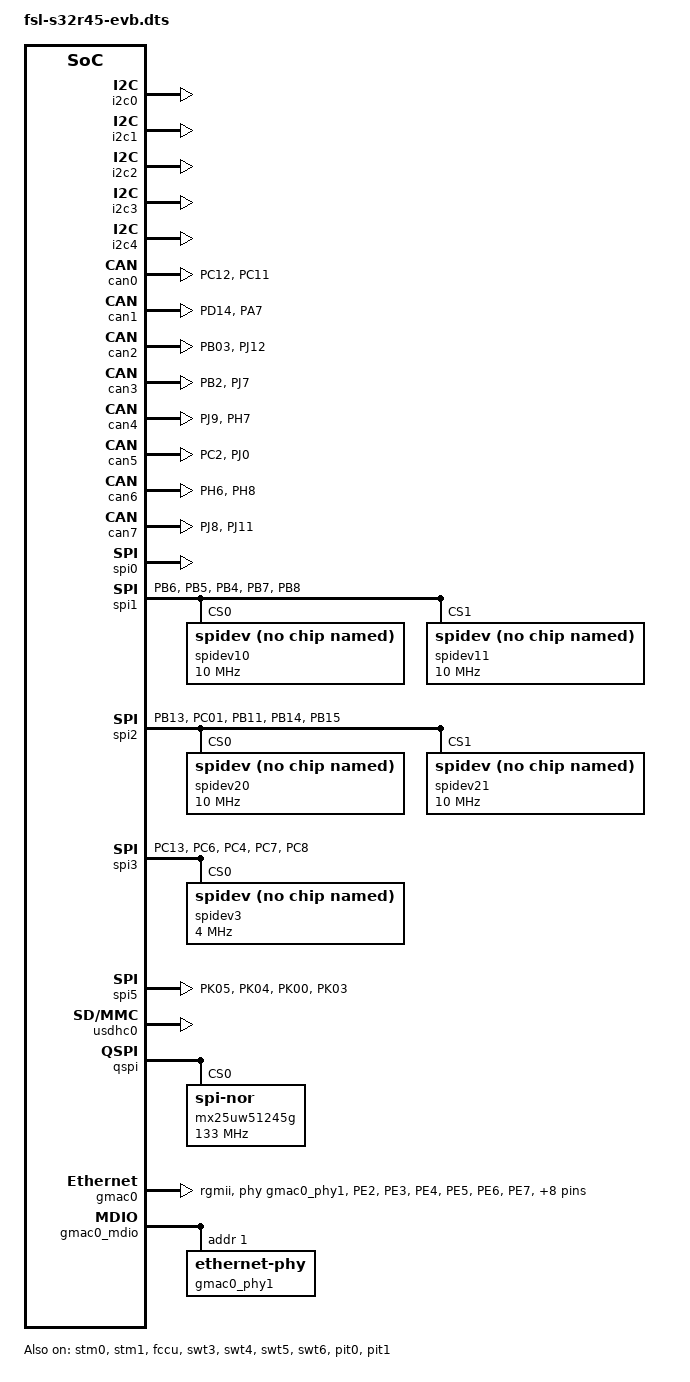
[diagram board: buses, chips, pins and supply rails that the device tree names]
/*
 * Copyright 2019-2020 NXP
 *
 * This program is free software; you can redistribute it and/or modify
 * it under the terms of the GNU General Public License as published by
 * the Free Software Foundation; either version 2 of the License, or
 * (at your option) any later version.
 */

/dts-v1/;
#include "fsl-s32r45.dtsi"
#include <dt-bindings/pinctrl/s32r45-pinctrl.h>

/ {
	aliases {
		gmac0 = &gmac0;
		gmac1 = &gmac1;
	};

	chosen {
		linux,initrd-start = <0x84000000>;
		linux,initrd-end = <0x8A000000>;
		stdout-path = "serial0:115200n8";
	};

	memory_DDR0@80000000 {
		device_type = "memory";
		reg = <0 0x80000000 0 0x40000000>;
	};

	memory_DDR1@c0000000 {
		device_type = "memory";
		reg = <0 0xc0000000 0 0x40000000>;
	};

	memory_DDR2@880000000 {
		device_type = "memory";
		reg = <0x8 0x80000000 0 0x80000000>;
	};
};

&fxosc {
	clock-frequency = <40000000>;
};

&generic_timer {
	clock-frequency = <5000000>;
};

&i2c0 {
	status = "okay";
};

&i2c1 {
	status = "okay";
};

&i2c2 {
	status = "okay";
};

&i2c3 {
	status = "okay";
};

&i2c4 {
	status = "okay";
};

&can0 {
	pinctrl-names = "default";
	pinctrl-0 = <&pinctrl0_can0>;
	status = "okay";
};

&can1 {
	pinctrl-names = "default";
	pinctrl-0 = <&pinctrl0_can1>, <&pinctrl1_can1>;
	status = "okay";
};

&can2 {
	pinctrl-names = "default";
	pinctrl-0 = <&pinctrl0_can2>, <&pinctrl1_can2>;
	status = "okay";
};

&can3 {
	pinctrl-names = "default";
	pinctrl-0 = <&pinctrl0_can3>, <&pinctrl1_can3>;
	status = "okay";
};

&can4 {
	pinctrl-names = "default";
	pinctrl-0 = <&pinctrl1_can4>;
};

&can5 {
	pinctrl-names = "default";
	pinctrl-0 =  <&pinctrl0_can5>, <&pinctrl1_can5>;
	status = "okay";
};

&can6 {
	pinctrl-names = "default";
	pinctrl-0 =  <&pinctrl1_can6>;
};

&can7 {
	pinctrl-names = "default";
	pinctrl-0 =  <&pinctrl1_can7>;
	status = "okay";
};

&stm0 {
	status = "okay";
};

&stm1 {
	status = "okay";
};

&fccu {
	status = "okay";
};

&swt3 {
	status = "okay";
};

&swt4 {
	status = "okay";
};

&swt5 {
	status = "okay";
};

&swt6 {
	status = "okay";
};

&pit0 {
	status = "okay";
};

&pit1 {
	status = "okay";
};

&pinctrl0 {
	status = "okay";
	s32r45-evb {
		pinctrl0_can0: can0grp {
			fsl,pins = <
				S32_GEN1_PAD_PC12__CAN0_TXD
				S32_GEN1_PAD_PC11__CAN0_RXD_OUT
				S32_GEN1_PAD_PC11__CAN0_RXD_IN
			>;
		};

		pinctrl0_can1: can1grp {
			fsl,pins = <
				S32_GEN1_PAD_PD14__CAN1_TXD
				S32_GEN1_PAD_PA7__CAN1_RXD_OUT
			>;
		};

		pinctrl0_can2: can2grp {
			fsl,pins = <
				S32_GEN1_PAD_PB03__CAN2_TXD
			>;
		};

		pinctrl0_can3: can3grp {
			fsl,pins = <
				S32_GEN1_PAD_PB2__CAN3_TXD
			>;
		};

		pinctrl0_can5: can5rp {
			fsl,pins = <
				S32_GEN1_PAD_PC2__CAN5_TXD
			>;
		};

		pinctrl0_dspi1: dspi1grp {
			fsl,pins = <
				S32_GEN1_PAD_PB6__SPI1_SOUT_OUT
				S32_GEN1_PAD_PB5__SPI1_SIN_OUT
				S32_GEN1_PAD_PB4__SPI1_SCK_OUT
				S32_GEN1_PAD_PB7__SPI1_CS0_OUT
				S32_GEN1_PAD_PB8__SPI1_CS1_OUT
			>;
		};

		pinctrl0_dspi2: dspi2grp {
			fsl,pins = <
				S32_GEN1_PAD_PB13__SPI2_SOUT_OUT
				S32_GEN1_PAD_PC01__SPI2_SIN_OUT
				S32_GEN1_PAD_PB11__SPI2_SCK_OUT
				S32_GEN1_PAD_PB14__SPI2_CS0_OUT
				S32_GEN1_PAD_PB15__SPI2_CS1_OUT
			>;
		};

		pinctrl0_dspi3: dspi3grp {
			fsl,pins = <
				S32_GEN1_PAD_PC13__SPI3_SOUT_OUT
				S32_GEN1_PAD_PC6__SPI3_SIN_OUT
				S32_GEN1_PAD_PC4__SPI3_SCK_OUT
				S32_GEN1_PAD_PC7__SPI3_CS0_OUT
				S32_GEN1_PAD_PC8__SPI3_CS1_OUT
			>;
		};

		pinctrl0_mdio2: mdio2grp {
			fsl,pins = <
				S32_GEN1_PAD_PD12__MDC
				S32_GEN1_PAD_PD13__MDIO_OUT
				S32_GEN1_PAD_PD13__MDIO_IN
			>;
		};

		pinctrl0_rgmii2: rgmii2grp {
			fsl,pins = <
				S32_GEN1_PAD_PE2__TXCLK_OUT
				S32_GEN1_PAD_PE2__TXCLK_IN
				S32_GEN1_PAD_PE3__TX_EN_OUT
				S32_GEN1_PAD_PE4__TX_D0_OUT
				S32_GEN1_PAD_PE5__TX_D1_OUT
				S32_GEN1_PAD_PE6__TX_D2_OUT
				S32_GEN1_PAD_PE7__TX_D3_OUT
				S32_GEN1_PAD_PE8__RXCLK_OUT
				S32_GEN1_PAD_PE8__RXCLK_IN
				S32_GEN1_PAD_PE9__RX_DV_OUT
				S32_GEN1_PAD_PE9__RX_DV_IN
				S32_GEN1_PAD_PE10__RX_D0_OUT
				S32_GEN1_PAD_PE10__RX_D0_IN
				S32_GEN1_PAD_PE11__RX_D1_OUT
				S32_GEN1_PAD_PE11__RX_D1_IN
				S32_GEN1_PAD_PE12__RX_D2_OUT
				S32_GEN1_PAD_PE12__RX_D2_IN
				S32_GEN1_PAD_PE13__RX_D3_OUT
				S32_GEN1_PAD_PE13__RX_D3_IN
			>;
		};

		pinctrl_gpio0: gpiogrp0 {
			fsl,pins = <
				S32R45_PAD_PA_00_SIUL_GPIO0
				S32R45_PAD_PA_01_SIUL_GPIO1
				S32R45_PAD_PA_02_SIUL_GPIO2
				S32R45_PAD_PA_03_SIUL_GPIO3
				S32R45_PAD_PA_04_SIUL_GPIO4
				S32R45_PAD_PA_05_SIUL_GPIO5
				S32R45_PAD_PA_06_SIUL_GPIO6
				S32R45_PAD_PA_07_SIUL_GPIO7
				S32R45_PAD_PA_08_SIUL_GPIO8
				S32R45_PAD_PA_09_SIUL_GPIO9
				S32R45_PAD_PA_10_SIUL_GPIO10
				S32R45_PAD_PA_11_SIUL_GPIO11
				S32R45_PAD_PA_12_SIUL_GPIO12
				S32R45_PAD_PA_13_SIUL_GPIO13
				S32R45_PAD_PA_14_SIUL_GPIO14
				S32R45_PAD_PA_15_SIUL_GPIO15
				S32R45_PAD_PB_00_SIUL_GPIO16
				S32R45_PAD_PB_01_SIUL_GPIO17
				S32R45_PAD_PB_02_SIUL_GPIO18
				S32R45_PAD_PB_03_SIUL_GPIO19
				S32R45_PAD_PB_04_SIUL_GPIO20
				S32R45_PAD_PB_05_SIUL_GPIO21
				S32R45_PAD_PB_06_SIUL_GPIO22
				S32R45_PAD_PB_07_SIUL_GPIO23
				S32R45_PAD_PB_08_SIUL_GPIO24
				S32R45_PAD_PB_09_SIUL_GPIO25
				S32R45_PAD_PB_10_SIUL_GPIO26
				S32R45_PAD_PB_11_SIUL_GPIO27
				S32R45_PAD_PB_12_SIUL_GPIO28
				S32R45_PAD_PB_13_SIUL_GPIO29
				S32R45_PAD_PB_14_SIUL_GPIO30
				S32R45_PAD_PB_15_SIUL_GPIO31
				S32R45_PAD_PC_00_SIUL_GPIO32
				S32R45_PAD_PC_01_SIUL_GPIO33
				S32R45_PAD_PC_02_SIUL_GPIO34
				S32R45_PAD_PC_03_SIUL_GPIO35
				S32R45_PAD_PC_04_SIUL_GPIO36
				S32R45_PAD_PC_05_SIUL_GPIO37
				S32R45_PAD_PC_06_SIUL_GPIO38
				S32R45_PAD_PC_07_SIUL_GPIO39
				S32R45_PAD_PC_08_SIUL_GPIO40
				S32R45_PAD_PC_09_SIUL_GPIO41
				S32R45_PAD_PC_10_SIUL_GPIO42
				S32R45_PAD_PC_11_SIUL_GPIO43
				S32R45_PAD_PC_12_SIUL_GPIO44
				S32R45_PAD_PC_13_SIUL_GPIO45
				S32R45_PAD_PC_14_SIUL_GPIO46
				S32R45_PAD_PC_15_SIUL_GPIO47
				S32R45_PAD_PD_00_SIUL_GPIO48
				S32R45_PAD_PD_01_SIUL_GPIO49
				S32R45_PAD_PD_02_SIUL_GPIO50
				S32R45_PAD_PD_03_SIUL_GPIO51
				S32R45_PAD_PD_04_SIUL_GPIO52
				S32R45_PAD_PD_05_SIUL_GPIO53
				S32R45_PAD_PD_06_SIUL_GPIO54
				S32R45_PAD_PD_07_SIUL_GPIO55
				S32R45_PAD_PD_08_SIUL_GPIO56
				S32R45_PAD_PD_09_SIUL_GPIO57
				S32R45_PAD_PD_10_SIUL_GPIO58
				S32R45_PAD_PD_11_SIUL_GPIO59
				S32R45_PAD_PD_12_SIUL_GPIO60
				S32R45_PAD_PD_13_SIUL_GPIO61
				S32R45_PAD_PD_14_SIUL_GPIO62
				S32R45_PAD_PD_15_SIUL_GPIO63
				S32R45_PAD_PE_00_SIUL_GPIO64
				S32R45_PAD_PE_01_SIUL_GPIO65
				S32R45_PAD_PE_02_SIUL_GPIO66
				S32R45_PAD_PE_03_SIUL_GPIO67
				S32R45_PAD_PE_04_SIUL_GPIO68
				S32R45_PAD_PE_05_SIUL_GPIO69
				S32R45_PAD_PE_06_SIUL_GPIO70
				S32R45_PAD_PE_07_SIUL_GPIO71
				S32R45_PAD_PE_08_SIUL_GPIO72
				S32R45_PAD_PE_09_SIUL_GPIO73
				S32R45_PAD_PE_10_SIUL_GPIO74
				S32R45_PAD_PE_11_SIUL_GPIO75
				S32R45_PAD_PE_12_SIUL_GPIO76
				S32R45_PAD_PE_13_SIUL_GPIO77
				S32R45_PAD_PE_14_SIUL_GPIO78
				S32R45_PAD_PE_15_SIUL_GPIO79
				S32R45_PAD_PF_00_SIUL_GPIO80
				S32R45_PAD_PF_01_SIUL_GPIO81
				S32R45_PAD_PF_02_SIUL_GPIO82
				S32R45_PAD_PF_03_SIUL_GPIO83
				S32R45_PAD_PF_04_SIUL_GPIO84
				S32R45_PAD_PF_05_SIUL_GPIO85
				S32R45_PAD_PF_06_SIUL_GPIO86
				S32R45_PAD_PF_07_SIUL_GPIO87
				S32R45_PAD_PF_08_SIUL_GPIO88
				S32R45_PAD_PF_09_SIUL_GPIO89
				S32R45_PAD_PF_10_SIUL_GPIO90
				S32R45_PAD_PF_11_SIUL_GPIO91
				S32R45_PAD_PF_12_SIUL_GPIO92
				S32R45_PAD_PF_13_SIUL_GPIO93
				S32R45_PAD_PF_14_SIUL_GPIO94
				S32R45_PAD_PF_15_SIUL_GPIO95
				S32R45_PAD_PG_00_SIUL_GPIO96
				S32R45_PAD_PG_01_SIUL_GPIO97
				S32R45_PAD_PG_02_SIUL_GPIO98
				S32R45_PAD_PG_03_SIUL_GPIO99
				S32R45_PAD_PG_04_SIUL_GPIO100
				S32R45_PAD_PG_05_SIUL_GPIO101
				>;
		};
	};
};

&pinctrl1 {
	status = "okay";
	s32r45-evb {
		pinctrl1_can1: can1grp {
			fsl,pins = <
				S32_GEN1_PAD_PA7__CAN1_RXD_IN
			>;
		};

		pinctrl1_can2: can2grp {
			fsl,pins = <
				S32_GEN1_PAD_PJ12__CAN2_RXD_OUT
				S32_GEN1_PAD_PJ12__CAN2_RXD_IN
			>;
		};

		pinctrl1_can3: can3grp {
			fsl,pins = <
				S32_GEN1_PAD_PJ7__CAN3_RXD_OUT
				S32_GEN1_PAD_PJ7__CAN3_RXD_IN
			>;
		};

		pinctrl1_can4: can4grp {
			fsl,pins = <
				S32_GEN1_PAD_PJ9__CAN4_TXD
				S32_GEN1_PAD_PH7__CAN4_RXD_OUT
				S32_GEN1_PAD_PH7__CAN4_RXD_IN
			>;
		};

		pinctrl1_can5: can5rp {
			fsl,pins = <
				S32_GEN1_PAD_PJ0__CAN5_RXD_OUT
				S32_GEN1_PAD_PJ0__CAN5_RXD_IN
			>;
		};

		pinctrl1_can6: can6grp {
			fsl,pins = <
				S32_GEN1_PAD_PH6__CAN6_TXD
				S32_GEN1_PAD_PH8__CAN6_RXD_OUT
				S32_GEN1_PAD_PH8__CAN6_RXD_IN
			>;
		};

		pinctrl1_can7: can7grp {
			fsl,pins = <
				S32_GEN1_PAD_PJ8__CAN7_TXD
				S32_GEN1_PAD_PJ11__CAN7_RXD_OUT
				S32_GEN1_PAD_PJ11__CAN7_RXD_IN
			>;
		};

		pinctrl1_mdio3: mdio3grp {
			fsl,pins = <
				S32_GEN1_PAD_PH6__MDC
				S32_GEN1_PAD_PH7__MDIO_OUT
				S32_GEN1_PAD_PH7__MDIO_IN
			>;
		};

		pinctrl1_dspi1: dspi1grp {
			fsl,pins = <
				S32_GEN1_PAD_PB5__SPI1_SIN_IN
			>;
		};

		pinctrl1_dspi2: dspi2grp {
			fsl,pins = <
				S32_GEN1_PAD_PC01__SPI2_SIN_IN
			>;
		};

		pinctrl1_dspi3: dspi3grp {
			fsl,pins = <
				S32_GEN1_PAD_PC6__SPI3_SIN_IN
			>;
		};

		pinctrl1_dspi5: dspi5grp {
			fsl,pins = <
				S32_GEN1_PAD_PK05__SPI5_SOUT_OUT
				S32_GEN1_PAD_PK04__SPI5_SIN_OUT
				S32_GEN1_PAD_PK04__SPI5_SIN_IN
				S32_GEN1_PAD_PK00__SPI5_SCK_OUT
				S32_GEN1_PAD_PK03__SPI5_CS0_OUT
			>;
		};

		pinctrl_gpio1: gpiogrp1 {
			fsl,pins = <
				S32R45_PAD_PH_06_SIUL_GPIO102
				S32R45_PAD_PH_07_SIUL_GPIO103
				S32R45_PAD_PH_08_SIUL_GPIO104
				S32R45_PAD_PH_09_SIUL_GPIO105
				S32R45_PAD_PH_10_SIUL_GPIO106
				S32R45_PAD_PH_11_SIUL_GPIO107
				S32R45_PAD_PH_12_SIUL_GPIO108
				S32R45_PAD_PH_13_SIUL_GPIO109
				S32R45_PAD_PH_14_SIUL_GPIO110
				S32R45_PAD_PH_15_SIUL_GPIO111
				S32R45_PAD_PJ_00_SIUL_GPIO112
				S32R45_PAD_PJ_01_SIUL_GPIO113
				S32R45_PAD_PJ_02_SIUL_GPIO114
				S32R45_PAD_PJ_03_SIUL_GPIO115
				S32R45_PAD_PJ_04_SIUL_GPIO116
				S32R45_PAD_PJ_05_SIUL_GPIO117
				S32R45_PAD_PJ_06_SIUL_GPIO118
				S32R45_PAD_PJ_07_SIUL_GPIO119
				S32R45_PAD_PJ_08_SIUL_GPIO120
				S32R45_PAD_PJ_09_SIUL_GPIO121
				S32R45_PAD_PJ_10_SIUL_GPIO122
				S32R45_PAD_PJ_11_SIUL_GPIO123
				S32R45_PAD_PJ_12_SIUL_GPIO124
				S32R45_PAD_PJ_13_SIUL_GPIO125
				S32R45_PAD_PJ_14_SIUL_GPIO126
				S32R45_PAD_PJ_15_SIUL_GPIO127
				S32R45_PAD_PK_00_SIUL_GPIO128
				S32R45_PAD_PK_01_SIUL_GPIO129
				S32R45_PAD_PK_02_SIUL_GPIO130
				S32R45_PAD_PK_03_SIUL_GPIO131
				S32R45_PAD_PK_04_SIUL_GPIO132
				S32R45_PAD_PK_05_SIUL_GPIO133
				>;
		};

		pinctrl_gpioeirq: gpioeirqgrp {
			fsl,pins = <
				S32R45_PAD_PA_00_SIUL_EIRQ0
				S32R45_PAD_PA_03_SIUL_EIRQ1
				S32R45_PAD_PA_04_SIUL_EIRQ2
				S32R45_PAD_PA_05_SIUL_EIRQ3
				S32R45_PAD_PA_06_SIUL_EIRQ4
				S32R45_PAD_PA_08_SIUL_EIRQ5
				S32R45_PAD_PA_09_SIUL_EIRQ6
				S32R45_PAD_PA_10_SIUL_EIRQ7
				S32R45_PAD_PA_11_SIUL_EIRQ8
				S32R45_PAD_PA_13_SIUL_EIRQ9
				S32R45_PAD_PB_00_SIUL_EIRQ10
				S32R45_PAD_PB_01_SIUL_EIRQ11
				S32R45_PAD_PB_02_SIUL_EIRQ12
				S32R45_PAD_PB_04_SIUL_EIRQ13
				S32R45_PAD_PB_06_SIUL_EIRQ14
				S32R45_PAD_PB_07_SIUL_EIRQ15
				S32R45_PAD_PB_09_SIUL_EIRQ16
				S32R45_PAD_PB_10_SIUL_EIRQ17
				S32R45_PAD_PB_11_SIUL_EIRQ18
				S32R45_PAD_PB_12_SIUL_EIRQ19
				S32R45_PAD_PB_13_SIUL_EIRQ20
				S32R45_PAD_PB_14_SIUL_EIRQ21
				S32R45_PAD_PB_15_SIUL_EIRQ22
				S32R45_PAD_PC_00_SIUL_EIRQ23
				S32R45_PAD_PC_01_SIUL_EIRQ24
				S32R45_PAD_PC_03_SIUL_EIRQ25
				S32R45_PAD_PC_04_SIUL_EIRQ26
				S32R45_PAD_PC_05_SIUL_EIRQ27
				S32R45_PAD_PC_06_SIUL_EIRQ28
				S32R45_PAD_PC_07_SIUL_EIRQ29
				S32R45_PAD_PC_08_SIUL_EIRQ30
				S32R45_PAD_PC_12_SIUL_EIRQ31
				>;
		};
	};
};

&edma0 {
	status = "okay";
};

&edma1 {
	status = "okay";
};

&spi0 {
	status = "okay";
};

&spi1 {
	pinctrl-names = "default";
	pinctrl-0 = <&pinctrl0_dspi1>, <&pinctrl1_dspi1>;
	#address-cells = <1>;
	#size-cells = <0>;
	status = "okay";

	spidev10: spidev@0 {
		compatible = "rohm,dh2228fv";
		spi-max-frequency = <10000000>;
		reg = <0>;
	};

	spidev11: spidev@1 {
		compatible = "rohm,dh2228fv";
		spi-max-frequency = <10000000>;
		reg = <1>;
	};
};

&spi2 {
	pinctrl-names = "default";
	pinctrl-0 = <&pinctrl0_dspi2>, <&pinctrl1_dspi2>;
	#address-cells = <1>;
	#size-cells = <0>;
	status = "okay";

	spidev20: spidev@0 {
		compatible = "rohm,dh2228fv";
		spi-max-frequency = <10000000>;
		reg = <0>;
	};

	spidev21: spidev@1 {
		compatible = "rohm,dh2228fv";
		spi-max-frequency = <10000000>;
		reg = <1>;
	};
};

&spi3 {
	pinctrl-names = "default";
	pinctrl-0 = <&pinctrl0_dspi3>, <&pinctrl1_dspi3>;
	#address-cells = <1>;
	#size-cells = <0>;
	status = "okay";

	spidev3: spidev@0 {
		compatible = "rohm,dh2228fv";
		spi-max-frequency = <4000000>;
		reg = <0>;
	};
};

&spi5 {
	pinctrl-names = "default";
	pinctrl-0 =  <&pinctrl1_dspi5>;
	status = "okay";
};

&usdhc0 {
	status = "okay";
};

&qspi {
	status = "okay";

	mx25uw51245g@0 {
		#address-cells = <1>;
		#size-cells = <1>;
		compatible = "jedec,spi-nor";
		spi-max-frequency = <133000000>;
		spi-tx-bus-width = <8>;
		spi-rx-bus-width = <8>;
		reg = <0>;
	};
};

&gmac0 {
	pinctrl-names = "default";
	pinctrl-0 = <&pinctrl0_rgmii2>, <&pinctrl0_mdio2>;
	phy-mode = "rgmii";
	phy-handle = <&gmac0_phy1>;
	status = "okay";
};

&gmac0_mdio {
	/* KSZ9031RNXCA on S32R-VNP-PROC */
	gmac0_phy1: ethernet-phy@1 {
		reg = <1>;
	};
};

&gmac1 {
	phy-mode = "sgmii";
	status = "disabled";

	/* Current GMAC driver supports only CL22 but EVB phy
	 * supports only CL45, so no MDIO communication is
	 * possible.
	 */
	fixed-link {
		speed = <1000>;
		full-duplex;
	};
};
&gpio1 {
	pinctrl-names = "default";
	pinctrl-0 = <&pinctrl_gpioeirq>;
	status = "okay";
};
